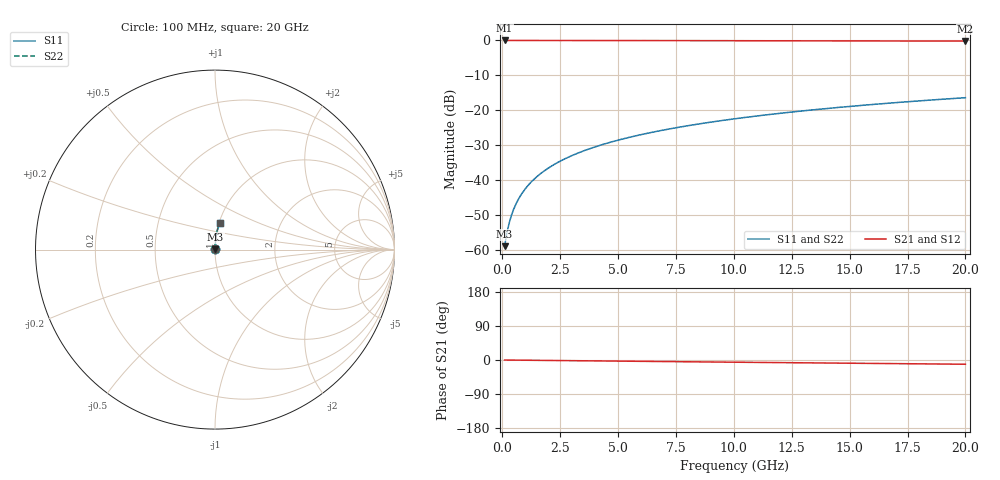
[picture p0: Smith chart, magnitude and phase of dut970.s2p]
! Touchstone file exported from HFSS 2024.1.0
!  File:  C:/UserFiles/LocalFiles/RDL_TSV_Batchsim/temp_RDL_bottom_970_1779942967.aedt
!  Generated:  12:39:05 PM May 28, 2026
!  Design:  RDL_bottom
!  Project:  temp_RDL_bottom_970_1779942967
!  Setup:  Setup1
!  Solution:  Sweep
! Variables:
!  dtsv = 10.80580581um
!  hbump = 3um
!  htsv = 68.8um
!  ldown = 109.45um
!  lrdl = 100um
!  p = 40
!  p1 = 48.11um
!  rhole = 1um
!  t = 450um
!  tdown = 4.47um
!  trdl = 3.915915916um
!  wdown = 12.76um
!  wrdl = 20um
# GHz S MA R 50.000000
! Terminal data exported
! Port[1] = RDL1_T1
! Port[2] = RDL1_T2
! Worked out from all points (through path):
!   200 points, 100 MHz to 20 GHz, reference 50 ohm
!   highest |S21| = -0.01 dB at 100 MHz (marker M1); lowest = -0.2 dB at 20 GHz (marker M2)
!   group delay of S21, straight-line fit = 1.55 ps
!   lowest |S11| = -59.0 dB at 100 MHz (marker M3), VSWR 1.00, Z = 50.1 + j0.0766 ohm
!   |S11| at or under -10 dB: start of sweep to end of sweep
!   |S22| runs from -59.0 to -16.4 dB; largest |S21 - S12| = 4.2e-15
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0.1  0.001116 43.2  0.9992 -0.1  0.9992 -0.1  0.001116 43.2
! Gamma 0 0 0 0
! Port Impedance 50 0 50 0
0.2  0.001733 61.4  0.9992 -0.1  0.9992 -0.1  0.001733 61.4
0.3  0.002423 69.4  0.9991 -0.2  0.9991 -0.2  0.002423 69.4
0.4  0.003133 73.9  0.9991 -0.2  0.9991 -0.2  0.003133 73.9
0.5  0.00385 76.7  0.9991 -0.3  0.9991 -0.3  0.00385 76.7
0.6  0.004571 78.6  0.9991 -0.4  0.9991 -0.4  0.004571 78.6
0.8  0.006021 81.1  0.999 -0.5  0.999 -0.5  0.006021 81.1
1.1  0.00821 83.3  0.9989 -0.7  0.9989 -0.7  0.00821 83.3
1.5  0.01114 84.8  0.9988 -0.9  0.9988 -0.9  0.01114 84.8
1.8  0.01335 85.4  0.9987 -1.1  0.9987 -1.1  0.01335 85.4
2.1  0.01556 85.9  0.9986 -1.3  0.9986 -1.3  0.01556 85.9
2.7  0.01999 86.4  0.9982 -1.6  0.9982 -1.6  0.01999 86.4
3.5  0.02591 86.7  0.9977 -2.1  0.9977 -2.1  0.02591 86.7
4.2  0.03111 86.8  0.9972 -2.5  0.9972 -2.5  0.03111 86.8
5  0.03707 86.8  0.9965 -3.0  0.9965 -3.0  0.03707 86.8
5.9  0.04381 86.6  0.9956 -3.5  0.9956 -3.5  0.04381 86.6
6.8  0.05057 86.4  0.9947 -4.0  0.9947 -4.0  0.05057 86.4
8.3  0.06191 86.0  0.9931 -4.9  0.9931 -4.9  0.06191 86.0
10.1  0.07559 85.2  0.991 -5.9  0.991 -5.9  0.07559 85.2
13.4  0.1008 83.7  0.9871 -7.7  0.9871 -7.7  0.1008 83.7
16.7  0.1259 82.0  0.9828 -9.4  0.9828 -9.4  0.1259 82.0
20  0.1508 80.2  0.9782 -11.2  0.9782 -11.2  0.1508 80.2
